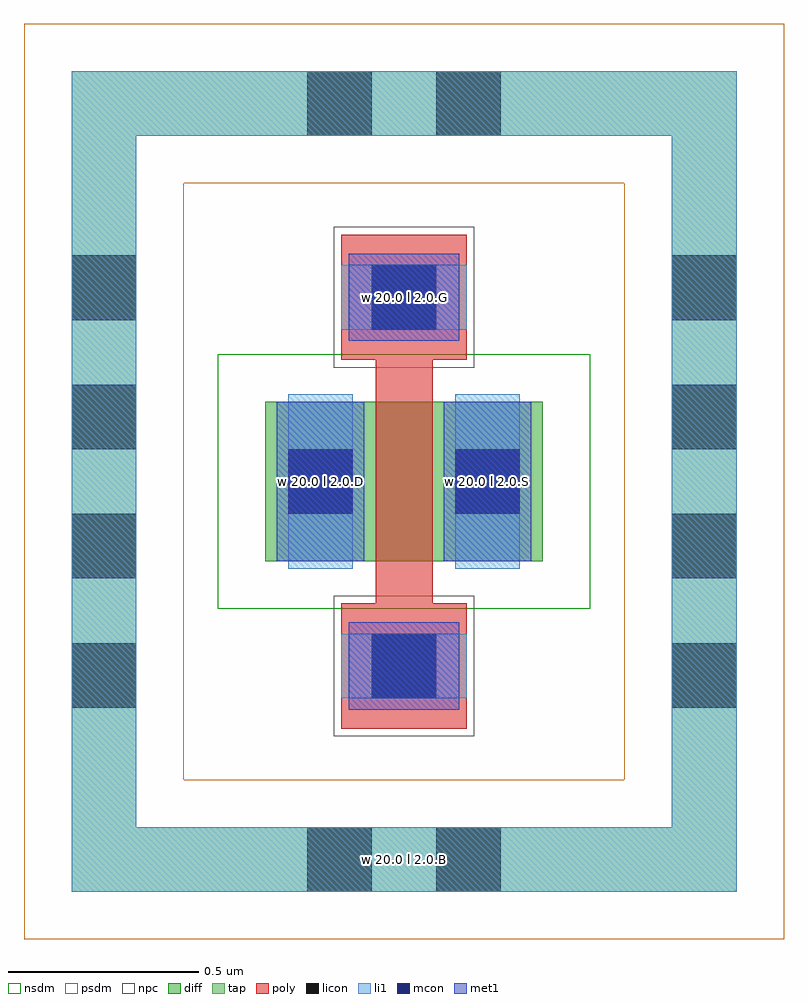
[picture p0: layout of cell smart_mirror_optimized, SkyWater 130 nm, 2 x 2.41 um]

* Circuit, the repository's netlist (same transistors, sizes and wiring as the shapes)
* NGSPICE file created from smart_mirror_optimized.ext - technology: sky130A

.subckt smart_mirror_optimized
X0 w 20.0 l 2.0.S w 20.0 l 2.0.G w 20.0 l 2.0.D w 20.0 l 2.0.B sky130_fd_pr__nfet_01v8 ad=0.1218 pd=1.42 as=0.1218 ps=1.42 w=0.42 l=0.15
.ends

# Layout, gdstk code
import gdstk
lib = gdstk.Library(unit=1e-6, precision=1e-09)
def R(c, l, rs):  # rectangles x0, y0, x1, y1
    for r in rs: c.add(gdstk.rectangle(r[:2], r[2:], *l))
def A(c, l, x, y, w, h, nx, ny, dx, dy):  # array of equal rectangles
    R(c, l, [(x+i*dx, y+j*dy, x+i*dx+w, y+j*dy+h) for i in range(nx) for j in range(ny)])
diff = (65, 20)
tap = (65, 44)
poly = (66, 20)
licon = (66, 44)
li1 = (67, 20)
mcon = (67, 44)
met1 = (68, 20)
nsdm = (93, 44)
psdm = (94, 20)
npc = (95, 20)

smart_mirror_optimized = lib.new_cell('smart_mirror_optimized')
R(smart_mirror_optimized, diff, [(0.425,0.785,1.155,1.205)])
R(smart_mirror_optimized, tap, [(-0.085,-0.085,1.665,0.085), (-0.085,0.085,0.085,1.905), (1.495,0.085,1.665,1.905), (-0.085,1.905,1.665,2.075)])
R(smart_mirror_optimized, poly, [(0.625,0.345,0.955,0.675), (0.715,0.675,0.865,1.315), (0.625,1.315,0.955,1.645)])
A(smart_mirror_optimized, licon, -0.085, 0.4, 0.17, 0.17, 1, 4, 0, 0.34)
A(smart_mirror_optimized, licon, 1.495, 0.4, 0.17, 0.17, 1, 4, 0, 0.34)
R(smart_mirror_optimized, licon, [(0.535,-0.085,0.705,0.085), (0.875,-0.085,1.045,0.085), (0.705,0.425,0.875,0.595), (0.485,0.91,0.655,1.08), (0.925,0.91,1.095,1.08), (0.705,1.395,0.875,1.565), (0.535,1.905,0.705,2.075), (0.875,1.905,1.045,2.075)])
R(smart_mirror_optimized, li1, [(-0.085,-0.085,1.665,0.085), (-0.085,0.085,0.085,1.905), (1.495,0.085,1.665,1.905), (0.625,0.425,0.955,0.595), (0.485,0.765,0.655,1.225), (0.925,0.765,1.095,1.225), (0.625,1.395,0.955,1.565), (-0.085,1.905,1.665,2.075)])
R(smart_mirror_optimized, mcon, [(0.705,0.425,0.875,0.595), (0.485,0.91,0.655,1.08), (0.925,0.91,1.095,1.08), (0.705,1.395,0.875,1.565)])
R(smart_mirror_optimized, met1, [(0.645,0.395,0.935,0.625), (0.455,0.785,0.685,1.205), (0.895,0.785,1.125,1.205), (0.645,1.365,0.935,1.595)])
R(smart_mirror_optimized, nsdm, [(0.3,0.66,1.28,1.33)])
R(smart_mirror_optimized, psdm, [(-0.21,-0.21,1.79,0.21), (-0.21,0.21,0.21,1.78), (1.37,0.21,1.79,1.78), (-0.21,1.78,1.79,2.2)])
R(smart_mirror_optimized, npc, [(0.605,0.325,0.975,0.695), (0.605,1.295,0.975,1.665)])
smart_mirror_optimized.add(gdstk.Label('w 20.0 l 2.0.B', (0.79,0), layer=67, texttype=5))
smart_mirror_optimized.add(gdstk.Label('w 20.0 l 2.0.D', (0.57,0.995), layer=67, texttype=5))
smart_mirror_optimized.add(gdstk.Label('w 20.0 l 2.0.S', (1.01,0.995), layer=67, texttype=5))
smart_mirror_optimized.add(gdstk.Label('w 20.0 l 2.0.G', (0.79,1.48), layer=67, texttype=5))

lib.write_gds('smart_mirror_optimized.gds')
